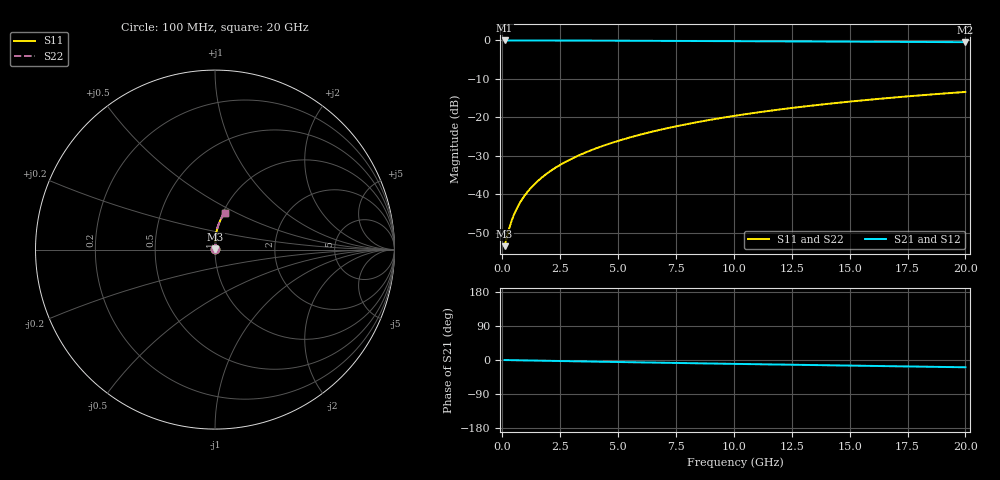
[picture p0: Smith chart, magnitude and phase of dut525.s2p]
! Touchstone file exported from HFSS 2024.1.0
!  File:  C:/UserFiles/LocalFiles/RDL_TSV_Batchsim/temp_RDL_bottom_525_1779688260.aedt
!  Generated:  01:53:37 PM May 25, 2026
!  Design:  RDL_bottom
!  Project:  temp_RDL_bottom_525_1779688260
!  Setup:  Setup1
!  Solution:  Sweep
! Variables:
!  dtsv = 10.80580581um
!  hbump = 3um
!  htsv = 56.09um
!  ldown = 235.94um
!  lrdl = 100um
!  p = 40
!  p1 = 48.03um
!  rhole = 1um
!  t = 450um
!  tdown = 2.57um
!  trdl = 3.915915916um
!  wdown = 21.32um
!  wrdl = 20um
# GHz S MA R 50.000000
! Terminal data exported
! Port[1] = RDL1_T1
! Port[2] = RDL1_T2
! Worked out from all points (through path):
!   200 points, 100 MHz to 20 GHz, reference 50 ohm
!   highest |S21| = -0.02 dB at 100 MHz (marker M1); lowest = -0.5 dB at 20 GHz (marker M2)
!   group delay of S21, straight-line fit = 2.65 ps
!   lowest |S11| = -53.5 dB at 100 MHz (marker M3), VSWR 1.00, Z = 50.2 + j0.104 ohm
!   |S11| at or under -10 dB: start of sweep to end of sweep
!   |S22| runs from -53.5 to -13.4 dB; largest |S21 - S12| = 3.4e-15
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0.1  0.002102 29.5  0.9982 -0.1  0.9982 -0.1  0.002102 29.5
! Gamma 0 0 0 0
! Port Impedance 50 0 50 0
0.3  0.003604 57.6  0.998 -0.3  0.998 -0.3  0.003604 57.6
0.4  0.004476 63.6  0.9979 -0.5  0.9979 -0.5  0.004476 63.6
0.5  0.005363 67.6  0.9979 -0.6  0.9979 -0.6  0.005363 67.6
0.6  0.006256 70.5  0.9978 -0.7  0.9978 -0.7  0.006256 70.5
0.8  0.008056 74.6  0.9976 -0.9  0.9976 -0.9  0.008056 74.6
1  0.009873 77.3  0.9974 -1.1  0.9974 -1.1  0.009873 77.3
1.2  0.01171 79.3  0.9973 -1.3  0.9973 -1.3  0.01171 79.3
1.4  0.01356 80.8  0.9971 -1.5  0.9971 -1.5  0.01356 80.8
1.7  0.01637 82.5  0.9968 -1.9  0.9968 -1.9  0.01637 82.5
2.2  0.02112 84.3  0.9961 -2.4  0.9961 -2.4  0.02112 84.3
2.8  0.02693 85.7  0.9952 -3.0  0.9952 -3.0  0.02693 85.7
3.5  0.03385 86.6  0.994 -3.8  0.994 -3.8  0.03385 86.6
4.2  0.04093 87.2  0.9925 -4.5  0.9925 -4.5  0.04093 87.2
5  0.04922 87.4  0.9907 -5.3  0.9907 -5.3  0.04922 87.4
5.9  0.05876 87.4  0.9885 -6.3  0.9885 -6.3  0.05876 87.4
6.8  0.06849 87.2  0.9862 -7.1  0.9862 -7.1  0.06849 87.2
8.4  0.08614 86.3  0.9818 -8.7  0.9818 -8.7  0.08614 86.3
10.1  0.1052 84.9  0.9771 -10.3  0.9771 -10.3  0.1052 84.9
13.4  0.1421 81.8  0.9677 -13.4  0.9677 -13.4  0.1421 81.8
16.7  0.1783 78.5  0.9581 -16.3  0.9581 -16.3  0.1783 78.6
20  0.2134 75.3  0.9482 -19.2  0.9482 -19.2  0.2135 75.3
